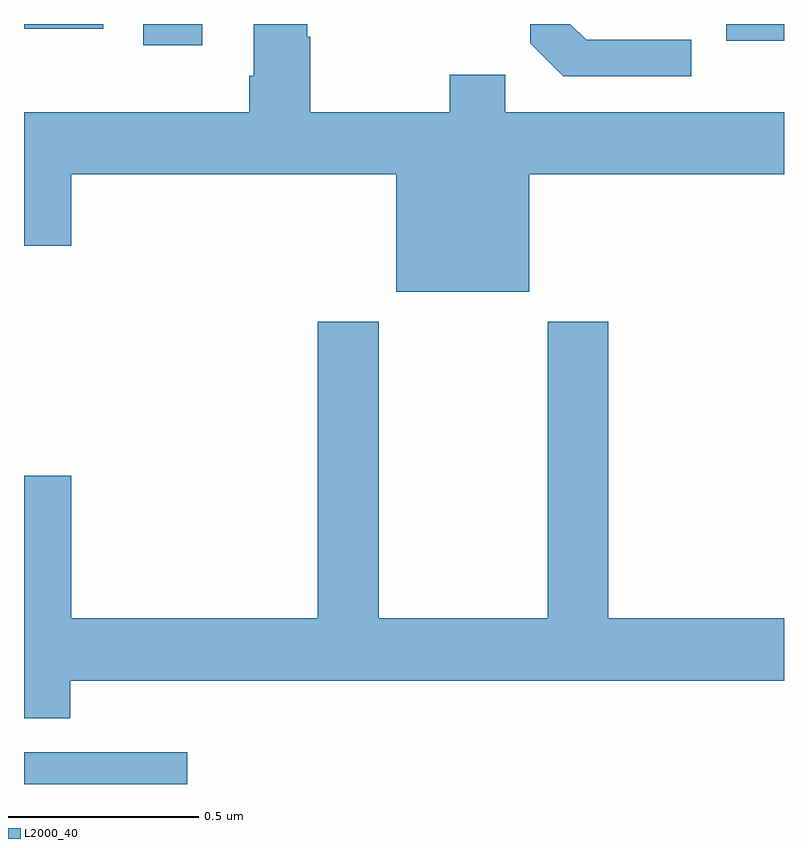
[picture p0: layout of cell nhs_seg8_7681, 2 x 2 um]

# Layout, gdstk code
import gdstk
lib = gdstk.Library(unit=1e-6, precision=1e-09)
def R(c, l, rs):  # rectangles x0, y0, x1, y1
    for r in rs: c.add(gdstk.rectangle(r[:2], r[2:], *l))
def P(c, l, *ps):  # polygons
    for p in ps: c.add(gdstk.Polygon(p, *l))
L2000_40 = (2000, 40)

nhs_seg8_7681 = lib.new_cell('nhs_seg8_7681')
R(nhs_seg8_7681, L2000_40, [(213,1110.9,213.43,1110.984), (213.314,1112.844,213.469,1112.9), (214.848,1112.856,215,1112.9), (213,1112.887,213.208,1112.9)])
P(nhs_seg8_7681, L2000_40, [(214.33,1112.504),(215,1112.504),(215,1112.668),(214.266,1112.668),(214.266,1112.767),(214.12,1112.767),(214.12,1112.668),(213.753,1112.668),(213.753,1112.867),(213.745,1112.867),(213.745,1112.9),(213.605,1112.9),(213.605,1112.764),(213.593,1112.764),(213.593,1112.668),(213,1112.668),(213,1112.316),(213.124,1112.316),(213.124,1112.504),(213.98,1112.504),(213.98,1112.195),(214.33,1112.195)],
  [(214.756,1112.859),(214.479,1112.859),(214.438,1112.9),(214.332,1112.9),(214.332,1112.85),(214.419,1112.763),(214.756,1112.763)],
  [(213.122,1111.172),(215,1111.172),(215,1111.336),(214.538,1111.336),(214.538,1112.116),(214.378,1112.116),(214.378,1111.336),(213.933,1111.336),(213.933,1112.116),(213.773,1112.116),(213.773,1111.336),(213.124,1111.336),(213.124,1111.711),(213,1111.711),(213,1111.073),(213.122,1111.073)])

lib.write_gds('nhs_seg8_7681.gds')
